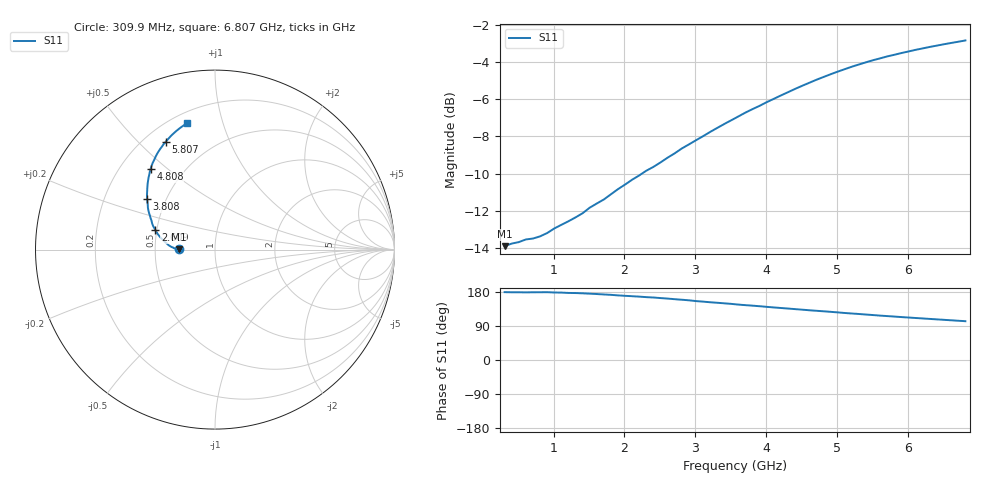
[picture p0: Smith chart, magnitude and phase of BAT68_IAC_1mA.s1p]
! Infineon Technologies  Discrete & RF Semiconductors
! BAT68
! IAC = 1 mA
! One-Port S-Parameters
# Hz  S  MA  R  50
!f  S11
!Hz  Mag  Ang
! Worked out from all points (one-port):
!   66 points, 309.9 MHz to 6.807 GHz, reference 50 ohm
!   lowest |S11| = -13.9 dB at 309.9 MHz (marker M1), VSWR 1.51, Z = 33.2 + j0.223 ohm
!   |S11| at or under -10 dB: start of sweep to 2.245 GHz
!   S11 on the Smith chart (normalised r, x): 309.9 MHz: 0.66, +0.00; 2.609 GHz: 0.49, +0.12; 3.808 GHz: 0.39, +0.28; 4.808 GHz: 0.33, +0.44; 5.807 GHz: 0.28, +0.60; 6.807 GHz: 0.26, +0.77
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3.0985e8  0.2018 179.1
6.097e8  0.2104 178.4
7.0965e8  0.2115 178.8
8.096e8  0.2144 178.8
9.0955e8  0.2188 178.9
1.2094e9  0.2354 177.0
1.4093e9  0.2474 176.0
1.50925e9  0.2561 175.0
1.6092e9  0.2628 174.1
1.70915e9  0.2695 173.0
2.009e9  0.2956 169.4
2.4088e9  0.3298 164.9
2.6087e9  0.3492 162.1
2.8086e9  0.3696 159.1
3.30835e9  0.4199 151.0
3.50825e9  0.4405 148.1
3.6082e9  0.451 146.2
3.8081e9  0.472 143.3
4.2079e9  0.5136 137.2
4.4078e9  0.5349 134.2
4.8076e9  0.5757 128.5
5.0075e9  0.5951 125.6
5.2074e9  0.6136 122.7
5.50725e9  0.6388 118.6
5.8071e9  0.6607 114.6
6.007e9  0.6743 112.1
6.30685e9  0.6935 108.4
6.8066e9  0.7218 102.4
